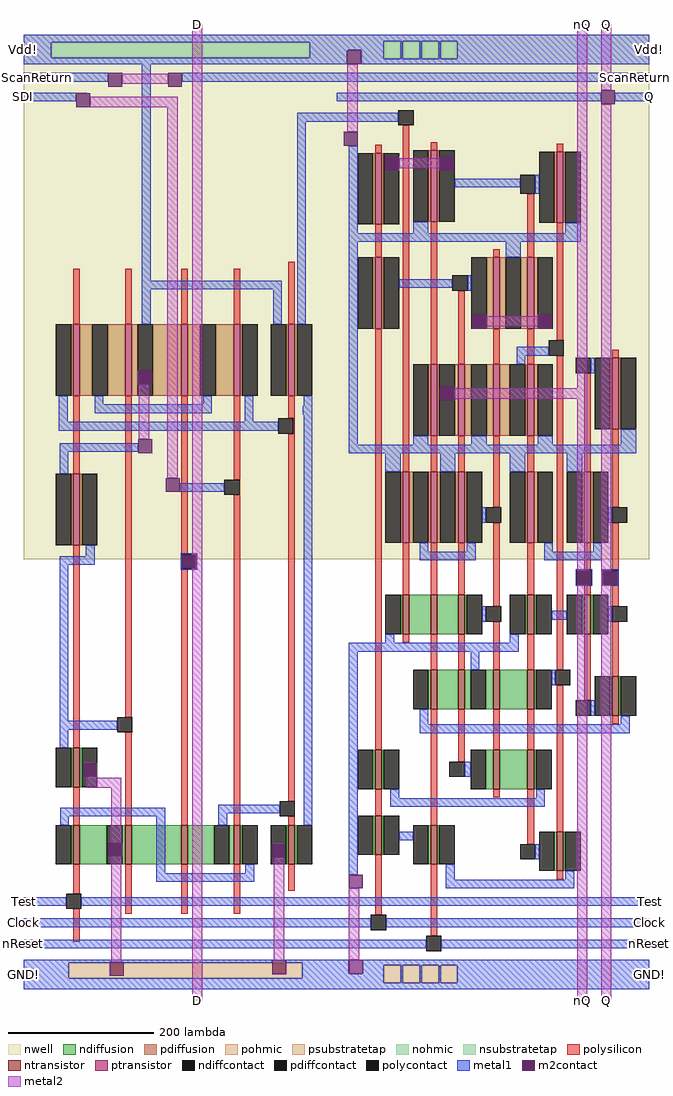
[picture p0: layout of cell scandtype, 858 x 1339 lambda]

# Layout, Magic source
magic
tech tsmc180
<< nwell >>
rect 0 605 858 1324
<< polysilicon >>
rect 482 1162 491 1173
rect 482 1019 491 1064
rect 68 927 77 1003
rect 139 927 148 1003
rect 216 927 225 1003
rect 288 927 297 1003
rect 363 927 372 1013
rect 68 722 77 829
rect 68 346 77 624
rect 139 388 148 829
rect 216 612 225 829
rect 288 714 297 829
rect 363 798 372 829
rect 370 777 372 798
rect 296 693 297 714
rect 68 240 77 292
rect 139 240 148 367
rect 216 240 225 591
rect 288 240 297 693
rect 363 273 372 777
rect 482 343 491 921
rect 520 725 529 1200
rect 558 1166 567 1177
rect 731 1164 740 1175
rect 558 872 567 1068
rect 644 1019 653 1030
rect 691 1019 700 1106
rect 596 872 605 973
rect 644 872 653 921
rect 691 872 700 921
rect 731 905 740 1066
rect 558 725 567 774
rect 596 725 605 774
rect 644 676 653 774
rect 691 725 700 774
rect 520 556 529 627
rect 558 556 567 627
rect 596 556 605 627
rect 644 540 653 655
rect 691 556 700 627
rect 520 491 529 502
rect 558 453 567 502
rect 596 453 605 502
rect 644 453 653 519
rect 691 453 700 502
rect 731 453 740 884
rect 807 881 816 892
rect 769 725 778 860
rect 807 676 816 783
rect 769 590 778 627
rect 807 590 816 655
rect 815 569 816 590
rect 769 556 778 569
rect 807 540 816 569
rect 482 253 491 289
rect 363 240 372 252
rect 558 240 567 399
rect 596 327 605 399
rect 644 343 653 399
rect 691 343 700 399
rect 644 278 653 289
rect 68 146 77 186
rect 68 80 77 125
rect 139 118 148 186
rect 216 118 225 186
rect 288 118 297 186
rect 363 150 372 186
rect 482 117 491 199
rect 691 214 700 289
rect 731 231 740 432
rect 769 411 778 502
rect 807 444 816 519
rect 807 379 816 390
rect 558 88 567 186
rect 731 166 740 177
<< ndiffusion >>
rect 65 292 68 346
rect 77 292 80 346
rect 517 502 520 556
rect 529 502 558 556
rect 567 502 596 556
rect 605 502 608 556
rect 688 502 691 556
rect 700 502 703 556
rect 766 502 769 556
rect 778 502 781 556
rect 555 399 558 453
rect 567 399 596 453
rect 605 399 613 453
rect 634 399 644 453
rect 653 399 691 453
rect 700 399 703 453
rect 479 289 482 343
rect 491 289 494 343
rect 65 186 68 240
rect 77 186 114 240
rect 135 186 139 240
rect 148 186 216 240
rect 225 186 261 240
rect 282 186 288 240
rect 297 186 300 240
rect 360 186 363 240
rect 372 186 375 240
rect 479 199 482 253
rect 491 199 494 253
rect 634 289 644 343
rect 653 289 691 343
rect 700 289 703 343
rect 555 186 558 240
rect 567 186 570 240
rect 804 390 807 444
rect 816 390 819 444
rect 728 177 731 231
rect 740 177 743 231
<< pdiffusion >>
rect 479 1064 482 1162
rect 491 1064 494 1162
rect 65 829 68 927
rect 77 829 94 927
rect 115 829 139 927
rect 148 829 156 927
rect 177 829 216 927
rect 225 829 242 927
rect 263 829 288 927
rect 297 829 300 927
rect 360 829 363 927
rect 372 829 375 927
rect 479 921 482 1019
rect 491 921 494 1019
rect 65 624 68 722
rect 77 624 80 722
rect 555 1068 558 1166
rect 567 1068 570 1166
rect 728 1066 731 1164
rect 740 1066 743 1164
rect 635 921 644 1019
rect 653 921 661 1019
rect 682 921 691 1019
rect 700 921 705 1019
rect 555 774 558 872
rect 567 774 570 872
rect 591 774 596 872
rect 605 774 614 872
rect 635 774 644 872
rect 653 774 667 872
rect 688 774 691 872
rect 700 774 705 872
rect 517 627 520 725
rect 529 627 534 725
rect 555 627 558 725
rect 567 627 571 725
rect 592 627 596 725
rect 605 627 608 725
rect 688 627 691 725
rect 700 627 705 725
rect 804 783 807 881
rect 816 783 819 881
rect 766 627 769 725
rect 778 627 781 725
<< pohmic >>
rect 517 24 520 48
rect 543 24 546 48
rect 569 24 572 48
<< nohmic >>
rect 517 1291 520 1315
rect 543 1291 546 1315
rect 569 1291 572 1315
<< ntransistor >>
rect 68 292 77 346
rect 520 502 529 556
rect 558 502 567 556
rect 596 502 605 556
rect 691 502 700 556
rect 769 502 778 556
rect 558 399 567 453
rect 596 399 605 453
rect 644 399 653 453
rect 691 399 700 453
rect 482 289 491 343
rect 68 186 77 240
rect 139 186 148 240
rect 216 186 225 240
rect 288 186 297 240
rect 363 186 372 240
rect 482 199 491 253
rect 644 289 653 343
rect 691 289 700 343
rect 558 186 567 240
rect 807 390 816 444
rect 731 177 740 231
<< ptransistor >>
rect 482 1064 491 1162
rect 68 829 77 927
rect 139 829 148 927
rect 216 829 225 927
rect 288 829 297 927
rect 363 829 372 927
rect 482 921 491 1019
rect 68 624 77 722
rect 558 1068 567 1166
rect 731 1066 740 1164
rect 644 921 653 1019
rect 691 921 700 1019
rect 558 774 567 872
rect 596 774 605 872
rect 644 774 653 872
rect 691 774 700 872
rect 520 627 529 725
rect 558 627 567 725
rect 596 627 605 725
rect 691 627 700 725
rect 807 783 816 881
rect 769 627 778 725
<< polycontact >>
rect 514 1200 535 1221
rect 349 777 370 798
rect 275 693 296 714
rect 216 591 237 612
rect 128 367 149 388
rect 681 1106 702 1132
rect 588 973 609 994
rect 720 884 741 905
rect 634 655 655 676
rect 634 519 655 540
rect 757 860 778 881
rect 807 655 828 676
rect 758 569 779 590
rect 794 569 815 590
rect 807 519 828 540
rect 729 432 750 453
rect 351 252 372 273
rect 584 306 605 327
rect 58 125 79 146
rect 757 390 778 411
rect 681 193 702 214
rect 476 96 497 117
rect 552 67 573 88
<< ndiffcontact >>
rect 44 292 65 346
rect 80 292 101 346
rect 496 502 517 556
rect 608 502 629 556
rect 667 502 688 556
rect 703 502 724 556
rect 745 502 766 556
rect 781 502 802 556
rect 534 399 555 453
rect 613 399 634 453
rect 703 399 724 453
rect 458 289 479 343
rect 494 289 515 343
rect 44 186 65 240
rect 114 186 135 240
rect 261 186 282 240
rect 300 186 321 240
rect 339 186 360 240
rect 375 186 396 240
rect 458 199 479 253
rect 494 199 515 253
rect 613 289 634 343
rect 703 289 724 343
rect 534 186 555 240
rect 570 186 591 240
rect 783 390 804 444
rect 819 390 840 444
rect 707 177 728 231
rect 743 177 764 231
<< pdiffcontact >>
rect 458 1064 479 1162
rect 494 1064 515 1162
rect 44 829 65 927
rect 94 829 115 927
rect 156 829 177 927
rect 242 829 263 927
rect 300 829 321 927
rect 339 829 360 927
rect 375 829 396 927
rect 458 921 479 1019
rect 494 921 515 1019
rect 44 624 65 722
rect 80 624 101 722
rect 534 1068 555 1166
rect 570 1068 591 1166
rect 707 1066 728 1164
rect 743 1066 764 1164
rect 614 921 635 1019
rect 661 921 682 1019
rect 705 921 726 1019
rect 534 774 555 872
rect 570 774 591 872
rect 614 774 635 872
rect 667 774 688 872
rect 705 774 726 872
rect 496 627 517 725
rect 534 627 555 725
rect 571 627 592 725
rect 608 627 629 725
rect 667 627 688 725
rect 705 627 726 725
rect 783 783 804 881
rect 819 783 840 881
rect 745 627 766 725
rect 781 627 802 725
<< psubstratetap >>
rect 62 30 382 51
rect 494 24 517 48
rect 520 24 543 48
rect 546 24 569 48
rect 572 24 595 48
<< nsubstratetap >>
rect 38 1293 392 1314
rect 494 1291 517 1315
rect 520 1291 543 1315
rect 546 1291 569 1315
rect 572 1291 595 1315
<< metal1 >>
rect 0 1315 858 1324
rect 0 1314 494 1315
rect 0 1293 38 1314
rect 392 1303 494 1314
rect 392 1293 444 1303
rect 0 1284 444 1293
rect 463 1291 494 1303
rect 517 1291 520 1315
rect 543 1291 546 1315
rect 569 1291 572 1315
rect 595 1291 858 1315
rect 463 1284 858 1291
rect 0 1260 116 1272
rect 0 1244 86 1245
rect 0 1233 72 1244
rect 162 987 174 1284
rect 217 1260 858 1272
rect 429 1233 792 1245
rect 811 1233 858 1245
rect 375 1205 514 1217
rect 162 975 354 987
rect 162 927 174 975
rect 342 927 354 975
rect 375 927 387 1205
rect 446 1052 458 1172
rect 591 1115 681 1127
rect 702 1106 707 1132
rect 534 1052 555 1068
rect 743 1052 764 1066
rect 446 1040 764 1052
rect 48 793 60 829
rect 97 817 109 829
rect 246 817 258 829
rect 97 805 258 817
rect 303 793 315 829
rect 384 815 396 829
rect 383 803 396 815
rect 48 781 349 793
rect 49 752 157 764
rect 49 722 61 752
rect 214 697 275 709
rect 85 609 97 624
rect 49 597 97 609
rect 215 612 238 613
rect 49 383 61 597
rect 215 591 216 612
rect 237 591 238 612
rect 215 590 238 591
rect 49 371 128 383
rect 49 346 61 371
rect 50 252 194 264
rect 50 240 62 252
rect 182 174 194 252
rect 267 256 351 268
rect 267 240 279 256
rect 384 240 396 803
rect 446 762 458 1040
rect 661 1019 682 1040
rect 515 977 588 989
rect 609 973 614 994
rect 676 884 720 896
rect 676 872 688 884
rect 778 860 783 881
rect 534 762 555 774
rect 614 762 635 774
rect 705 762 726 774
rect 819 762 840 783
rect 446 750 840 762
rect 496 725 517 750
rect 571 725 592 750
rect 667 725 688 750
rect 745 725 766 750
rect 629 655 634 676
rect 802 655 807 676
rect 543 615 555 627
rect 608 615 620 627
rect 543 603 620 615
rect 714 615 726 627
rect 781 615 793 627
rect 714 603 793 615
rect 757 590 780 591
rect 757 569 758 590
rect 779 569 780 590
rect 757 568 780 569
rect 793 590 816 591
rect 793 569 794 590
rect 815 569 816 590
rect 793 568 816 569
rect 629 519 634 540
rect 724 522 745 534
rect 802 519 807 540
rect 496 490 508 502
rect 667 490 679 502
rect 446 478 679 490
rect 304 174 316 186
rect 182 162 316 174
rect 446 172 458 478
rect 613 453 625 478
rect 724 432 729 453
rect 543 378 555 399
rect 778 390 783 411
rect 819 378 831 390
rect 543 366 831 378
rect 605 306 613 327
rect 503 277 515 289
rect 703 277 715 289
rect 503 265 715 277
rect 515 219 534 231
rect 702 193 707 214
rect 579 165 591 186
rect 743 165 755 177
rect 579 153 755 165
rect 0 129 58 141
rect 79 129 858 141
rect 0 100 476 112
rect 497 100 858 112
rect 0 71 552 83
rect 573 71 858 83
rect 0 54 446 55
rect 0 52 341 54
rect 0 51 118 52
rect 137 51 341 52
rect 360 51 446 54
rect 0 30 62 51
rect 382 36 446 51
rect 465 48 858 55
rect 465 36 494 48
rect 382 30 494 36
rect 0 24 494 30
rect 517 24 520 48
rect 543 24 546 48
rect 569 24 572 48
rect 595 24 858 48
rect 0 15 858 24
<< m2contact >>
rect 444 1284 463 1303
rect 116 1253 135 1272
rect 72 1225 91 1244
rect 198 1253 217 1272
rect 792 1229 811 1248
rect 439 1172 458 1191
rect 496 1138 515 1157
rect 570 1138 589 1157
rect 156 844 175 863
rect 157 750 176 769
rect 195 697 214 716
rect 217 592 236 611
rect 82 306 101 325
rect 116 197 135 216
rect 616 921 635 940
rect 705 921 724 940
rect 572 822 591 841
rect 759 570 778 589
rect 795 570 814 589
rect 340 195 359 214
rect 446 153 465 172
rect 118 51 137 52
rect 341 51 360 54
rect 118 33 137 51
rect 341 35 360 51
rect 446 36 465 55
<< metal2 >>
rect 135 1257 198 1271
rect 91 1225 211 1239
rect 158 769 172 844
rect 197 716 211 1225
rect 231 611 245 1339
rect 444 1191 458 1284
rect 515 1141 570 1155
rect 635 924 705 938
rect 759 839 773 1339
rect 591 825 773 839
rect 236 592 245 611
rect 87 305 101 306
rect 87 291 134 305
rect 120 216 134 291
rect 120 52 134 197
rect 231 0 245 592
rect 759 590 773 825
rect 792 1248 806 1339
rect 759 589 775 590
rect 792 589 806 1229
rect 792 570 795 589
rect 759 569 775 570
rect 343 54 357 195
rect 446 55 460 153
rect 759 0 773 569
rect 792 0 806 570
<< labels >>
rlabel metal1 0 1260 0 1272 3 ScanReturn
rlabel metal1 0 1233 0 1245 3 SDI
rlabel metal1 0 129 0 141 3 Test
rlabel metal1 0 100 0 112 3 Clock
rlabel metal1 0 71 0 83 3 nReset
rlabel metal2 231 1339 245 1339 5 D
rlabel metal2 231 0 245 0 1 D
rlabel metal1 0 15 0 55 3 GND!
rlabel metal1 0 1284 0 1324 3 Vdd!
rlabel metal2 792 1339 806 1339 5 Q
rlabel metal2 792 0 806 0 1 Q
rlabel metal2 759 1339 773 1339 5 nQ
rlabel metal2 759 0 773 0 1 nQ
rlabel metal1 858 1233 858 1245 7 Q
rlabel metal1 858 15 858 55 1 GND!
rlabel metal1 858 71 858 83 1 nReset
rlabel metal1 858 100 858 112 1 Clock
rlabel metal1 858 129 858 141 1 Test
rlabel metal1 858 1260 858 1272 7 ScanReturn
rlabel metal1 858 1284 858 1324 7 Vdd!
<< end >>
